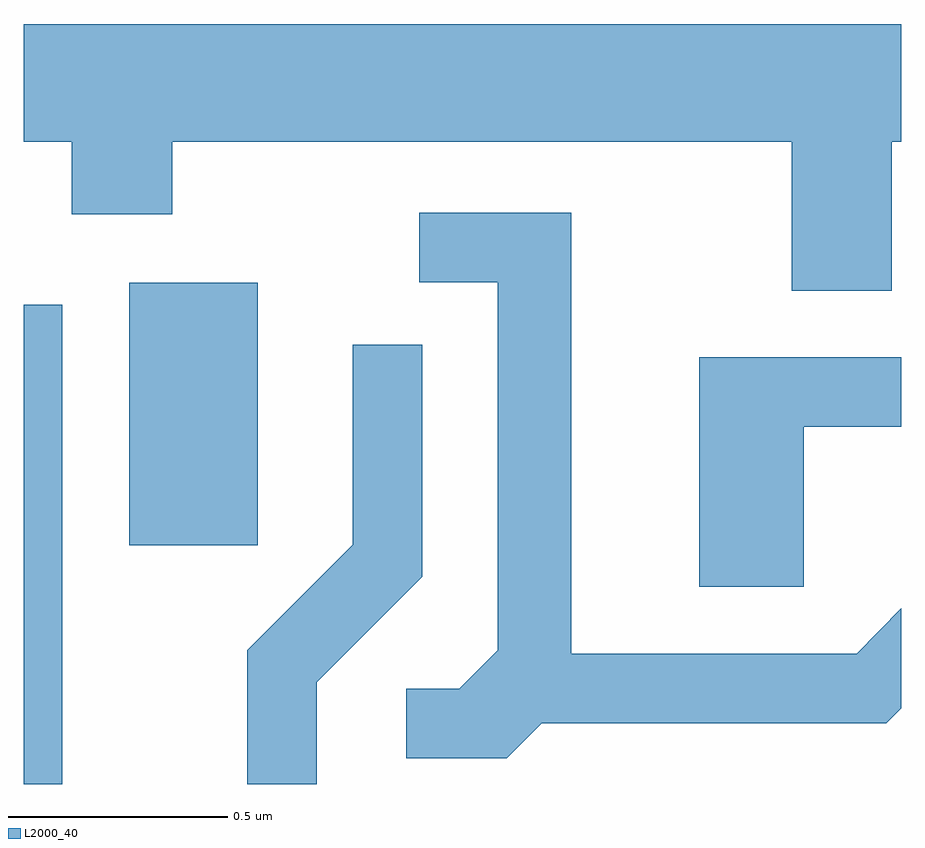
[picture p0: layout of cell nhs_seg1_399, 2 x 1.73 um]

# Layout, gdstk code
import gdstk
lib = gdstk.Library(unit=1e-6, precision=1e-09)
def R(c, l, rs):  # rectangles x0, y0, x1, y1
    for r in rs: c.add(gdstk.rectangle(r[:2], r[2:], *l))
def P(c, l, *ps):  # polygons
    for p in ps: c.add(gdstk.Polygon(p, *l))
L2000_40 = (2000, 40)

nhs_seg1_399 = lib.new_cell('nhs_seg1_399')
R(nhs_seg1_399, L2000_40, [(187.611,964.712,187.699,965.804), (187.851,965.256,188.144,965.854)])
P(nhs_seg1_399, L2000_40, [(189.589,966.176),(189.611,966.176),(189.611,966.444),(187.611,966.444),(187.611,966.176),(187.721,966.176),(187.721,966.011),(187.949,966.011),(187.949,966.176),(189.361,966.176),(189.361,965.836),(189.589,965.836)],
  [(188.792,964.851),(189.577,964.851),(189.611,964.885),(189.611,965.112),(189.509,965.009),(188.859,965.009),(188.859,966.014),(188.513,966.014),(188.513,965.856),(188.691,965.856),(188.691,965.017),(188.604,964.929),(188.483,964.929),(188.483,964.771),(188.712,964.771)],
  [(188.279,964.944),(188.519,965.184),(188.519,965.713),(188.361,965.713),(188.361,965.257),(188.121,965.017),(188.121,964.712),(188.279,964.712)],
  [(189.389,965.526),(189.611,965.526),(189.611,965.684),(189.151,965.684),(189.151,965.161),(189.389,965.161)])

lib.write_gds('nhs_seg1_399.gds')
